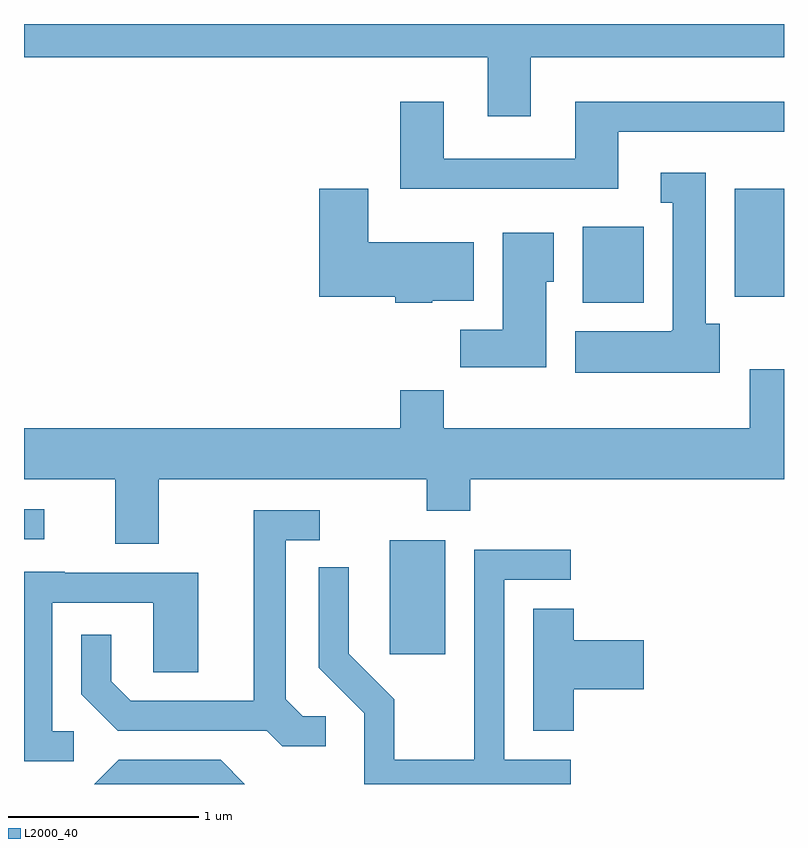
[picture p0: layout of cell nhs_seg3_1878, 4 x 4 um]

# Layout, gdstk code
import gdstk
lib = gdstk.Library(unit=1e-6, precision=1e-09)
def R(c, l, rs):  # rectangles x0, y0, x1, y1
    for r in rs: c.add(gdstk.rectangle(r[:2], r[2:], *l))
def P(c, l, *ps):  # polygons
    for p in ps: c.add(gdstk.Polygon(p, *l))
L2000_40 = (2000, 40)

nhs_seg3_1878 = lib.new_cell('nhs_seg3_1878')
R(nhs_seg3_1878, L2000_40, [(241.536,1200.576,241.829,1201.174), (239.611,1201.181,239.718,1201.339), (242.551,1202.426,242.874,1202.824), (243.351,1202.456,243.611,1203.024)])
P(nhs_seg3_1878, L2000_40, [(242.279,1203.716),(243.611,1203.716),(243.611,1203.892),(239.611,1203.892),(239.611,1203.716),(242.051,1203.716),(242.051,1203.406),(242.279,1203.406)],
  [(242.739,1203.326),(243.611,1203.326),(243.611,1203.484),(242.511,1203.484),(242.511,1203.184),(241.819,1203.184),(241.819,1203.484),(241.591,1203.484),(241.591,1203.026),(242.739,1203.026)],
  [(243.274,1202.314),(243.199,1202.314),(243.199,1203.109),(242.963,1203.109),(242.963,1202.951),(243.026,1202.951),(243.026,1202.28),(243.02,1202.28),(243.02,1202.274),(242.511,1202.274),(242.511,1202.056),(243.274,1202.056)],
  [(241.76,1202.436),(241.979,1202.436),(241.979,1202.744),(241.424,1202.744),(241.424,1203.024),(241.166,1203.024),(241.166,1202.456),(241.566,1202.456),(241.566,1202.426),(241.76,1202.426)],
  [(242.359,1202.536),(242.399,1202.536),(242.399,1202.794),(242.131,1202.794),(242.131,1202.284),(241.906,1202.284),(241.906,1202.086),(242.359,1202.086)],
  [(240.319,1201.496),(241.731,1201.496),(241.731,1201.331),(241.959,1201.331),(241.959,1201.496),(243.611,1201.496),(243.611,1202.074),(243.431,1202.074),(243.431,1201.764),(241.819,1201.764),(241.819,1201.964),(241.591,1201.964),(241.591,1201.764),(239.611,1201.764),(239.611,1201.496),(240.091,1201.496),(240.091,1201.156),(240.319,1201.156)],
  [(241.198,1200.249),(241.077,1200.249),(240.989,1200.337),(240.989,1201.176),(241.168,1201.176),(241.168,1201.334),(240.821,1201.334),(240.821,1200.329),(240.172,1200.329),(240.069,1200.432),(240.069,1200.678),(239.911,1200.678),(239.911,1200.364),(240.104,1200.171),(240.889,1200.171),(240.969,1200.091),(241.198,1200.091)],
  [(242.488,1200.019),(242.139,1200.019),(242.139,1200.966),(242.488,1200.966),(242.488,1201.124),(241.981,1201.124),(241.981,1200.019),(241.559,1200.019),(241.559,1200.337),(241.319,1200.577),(241.319,1201.033),(241.161,1201.033),(241.161,1200.504),(241.401,1200.264),(241.401,1199.892),(242.488,1199.892)],
  [(239.873,1200.169),(239.759,1200.169),(239.759,1200.846),(240.291,1200.846),(240.291,1200.481),(240.529,1200.481),(240.529,1201.004),(239.825,1201.004),(239.825,1201.009),(239.611,1201.009),(239.611,1200.011),(239.873,1200.011)],
  [(242.504,1200.391),(242.874,1200.391),(242.874,1200.649),(242.504,1200.649),(242.504,1200.814),(242.291,1200.814),(242.291,1200.171),(242.504,1200.171)],
  [(240.647,1200.019),(240.109,1200.019),(239.982,1199.892),(240.774,1199.892)])

lib.write_gds('nhs_seg3_1878.gds')
